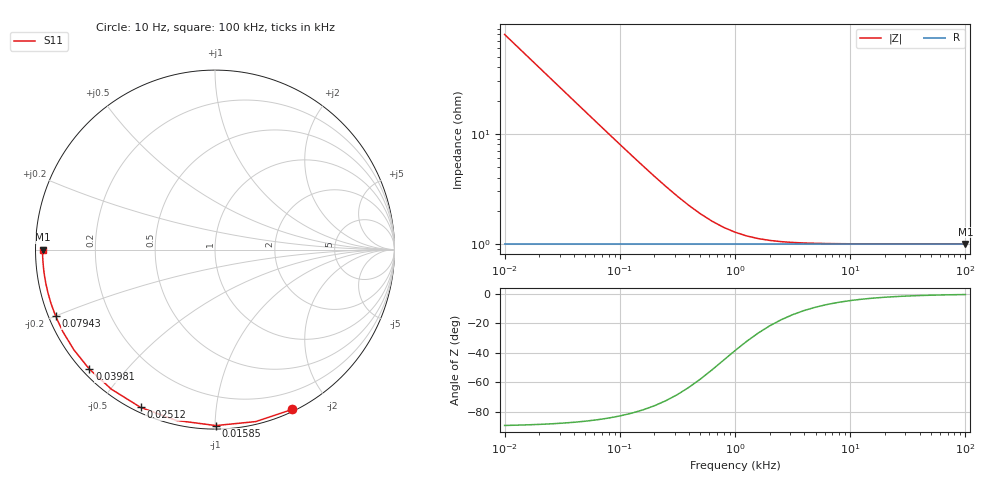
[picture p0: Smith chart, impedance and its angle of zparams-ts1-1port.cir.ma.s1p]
# Hz Z MA R 50
!  Freq  magZ11  angZ11
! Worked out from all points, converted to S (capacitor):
!   41 points, 10 Hz to 100 kHz, reference 50 ohm
!   read as one part to ground: C = 200 uF near 10 Hz
!   lowest |Z| = 1 ohm at 100 kHz (marker M1)
!   S11 on the Smith chart (normalised r, x): 10 Hz: 0.02, -1.59; 15.85 Hz: 0.02, -1.00; 25.12 Hz: 0.02, -0.63; 39.81 Hz: 0.02, -0.40; 79.43 Hz: 0.02, -0.20; 100 kHz: 0.02, -0.00
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10  1.592 -89.3
12.58925  1.264 -89.1
15.84893  1.004 -88.9
19.95262  0.7979 -88.6
25.11886  0.6339 -88.2
31.62278  0.5037 -87.7
39.81072  0.4003 -87.1
50.11872  0.3182 -86.4
63.09573  0.253 -85.5
79.43282  0.2014 -84.3
100  0.1604 -82.8
125.8925  0.128 -81.0
158.4893  0.1024 -78.7
199.5262  0.08224 -75.9
251.1886  0.06644 -72.5
316.2278  0.05416 -68.3
398.1072  0.0447 -63.4
501.1872  0.03753 -57.8
630.9573  0.03219 -51.6
794.3282  0.02831 -45.1
1000  0.02556 -38.5
1258.925  0.02366 -32.3
1995.262  0.02153 -21.7
3981.072  0.0204 -11.3
6309.573  0.02016 -7.2
12589.25  0.02004 -3.6
39810.72  0.02 -1.1
100000  0.02 -0.5
